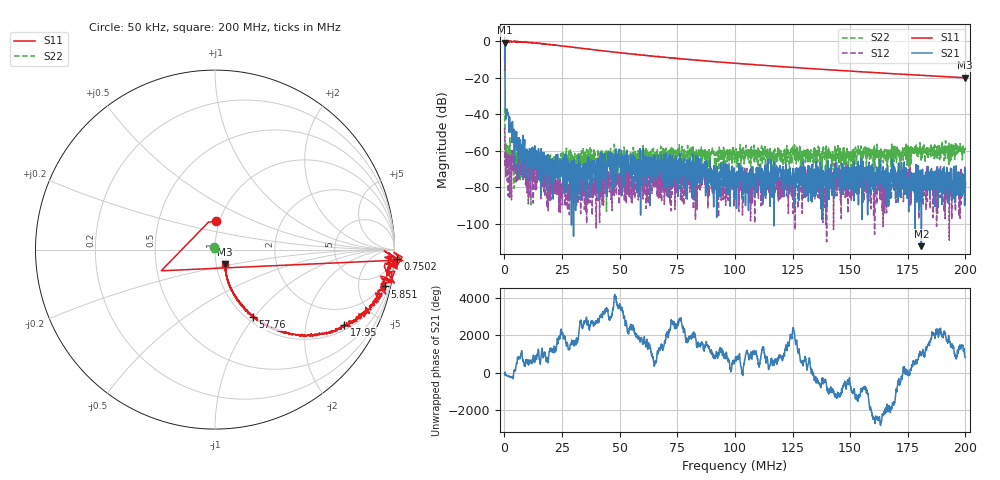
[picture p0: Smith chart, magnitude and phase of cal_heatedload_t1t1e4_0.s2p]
! 26-Feb-26 1:36:09 PM
! E:\VNA_MEASUREMENTS\CAL_S11\CAL_HEATEDLOAD_T1T1E4_0.S2P
! CHANNEL.1
! TR.MEASUREMENT
! CORRECTED.DATA
# GHZ S RI R 50.0
! FREQ.GHZ  S11RE  S11IM  S21RE  S21IM  S12RE  S12IM  S22RE  S22IM
!; PortSelection: Port_12
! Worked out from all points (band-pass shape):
!   2000 points, 50 kHz to 200 MHz, reference 50 ohm
!   highest |S21| = -0.77 dB at 150 kHz (marker M1); lowest = -112.3 dB at 180.9 MHz (marker M2)
!   |S21| within 3 dB of the highest: 118.1 kHz to 167.8 kHz (49.69 kHz wide, 34.8 % of centre)
!   lowest |S11| = -20.0 dB at 199.9 MHz (marker M3), VSWR 1.22, Z = 55.2 - j9.2 ohm
!   |S11| at or under -10 dB: start of sweep to 247.6 kHz; 79.76777 MHz to 79.78098 MHz (13.2 kHz wide, 0.0165 % of centre); 80.62 MHz to end of sweep (the widest 3 of 6)
!   |S22| runs from -93.3 to -36.4 dB; largest |S21 - S12| = 0.92
!   S11 on the Smith chart (normalised r, x): 50 kHz: 0.96, +0.31; 750.2 kHz: -13, -36; 5.851 MHz: 1.41, -9.12; 17.95 MHz: 1.21, -3.31; 57.76 MHz: 1.07, -0.98; 200 MHz: 1.11, -0.18
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5e-05  0.00686 0.1582  0.1262 -0.2832  0.00341 -0.00248  -0.00379 0.0146
0.000150025  -0.0361 0.1533  -0.3966 -0.8244  -0.000588 0.000585  0.00314 -0.00558
0.000750175  1.016 -0.0506  -0.00467 -0.00764  -0.00055 -0.000658  -0.00154 0.000319
0.001350325  1.002 -0.084  -0.0108 -0.00211  -0.000189 0.000291  -0.000362 -0.000123
0.005851451  0.9458 -0.205  0.000601 0.00199  -0.00037 0.000458  0.000571 -5.02e-05
0.0100525  0.8785 -0.294  -0.000285 0.000448  -0.000113 -0.000234  0.000523 -0.000243
0.01795448  0.721 -0.4177  -0.000299 0.000478  8.16e-05 -5.31e-05  0.000322 -9.09e-05
0.03345835  0.4347 -0.4703  0.000182 0.000292  6.22e-05 -4.68e-05  0.000993 0.000178
0.04556138  0.3013 -0.4296  0.000586 0.000198  7.9e-05 1.17e-05  0.000199 0.000481
0.04696173  0.2878 -0.419  -0.000559 0.000123  -0.000151 -1.24e-05  0.00037 0.00015
0.04896223  0.2721 -0.4092  0.000137 -3.26e-05  -6.06e-05 -0.000108  0.000618 -0.000129
0.05776443  0.2125 -0.3743  -0.000308 0.00048  -0.000169 -0.000306  0.000417 0.000348
0.06676668  0.1762 -0.3423  0.000421 0.000219  0.000247 -0.000126  0.000548 0.000528
0.09107276  0.1078 -0.2537  -0.00011 7.48e-05  -2.02e-05 -6.62e-05  0.000551 0.000616
0.09587396  0.0992 -0.2421  -0.000239 0.000286  3.58e-05 9.01e-05  0.000556 0.000556
0.100075  0.095 -0.2322  0.00016 -2.3e-06  4.09e-05 5.62e-05  0.000477 0.000434
0.1189797  0.0765 -0.1888  0.000216 9.92e-05  -0.000111 9.77e-05  0.00106 0.000592
0.1333833  0.0681 -0.1634  -3.92e-05 4.2e-06  0.000137 3.66e-05  0.000218 0.000551
0.1666917  0.0587 -0.1173  1.24e-05 -0.000204  0.000204 5.84e-05  0.00051 0.000337
0.1808952  0.0569 -0.1013  1e-06 -2.2e-06  9e-05 -3.09e-05  0.000458 0.000373
0.1999  0.0568 -0.0825  -7.26e-05 0.000317  -3.21e-05 -3.2e-06  0.000725 0.00082
0.2  0.0571 -0.0823  -4.4e-06 0.000113  4.04e-05 0.000132  0.00063 0.00103
